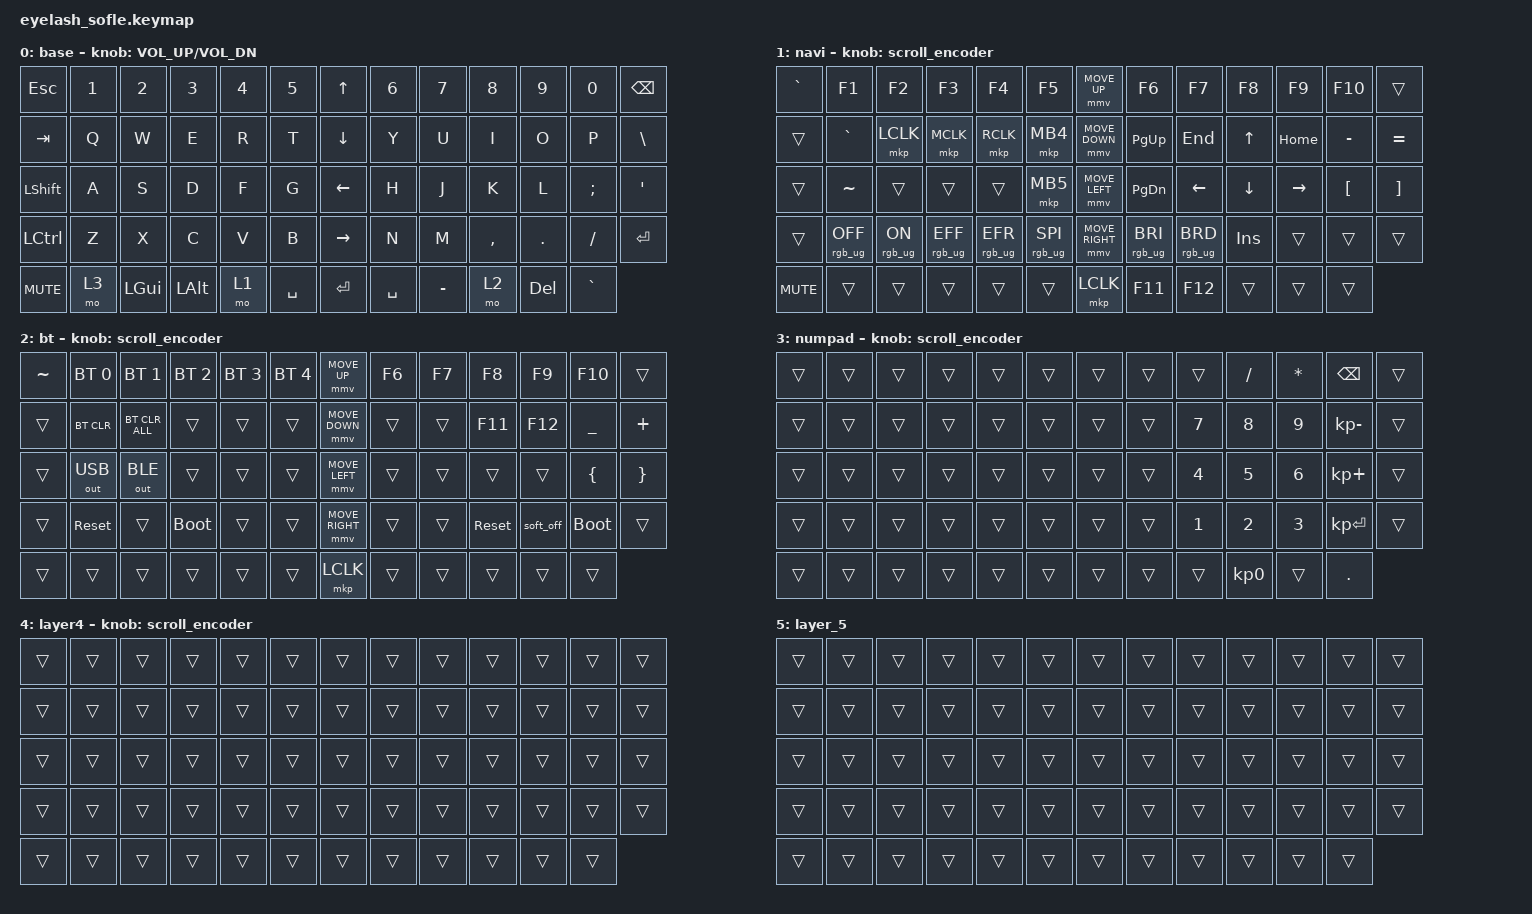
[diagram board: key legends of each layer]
#define ZMK_POINTING_DEFAULT_MOVE_VAL 1200  // 600
#define ZMK_POINTING_DEFAULT_SCRL_VAL 25   // 10

#include <input/processors.dtsi>
#include <zephyr/dt-bindings/input/input-event-codes.h>
#include <behaviors.dtsi>
#include <dt-bindings/zmk/bt.h>
#include <dt-bindings/zmk/keys.h>
#include <dt-bindings/zmk/outputs.h>
#include <dt-bindings/zmk/pointing.h>
#include <dt-bindings/zmk/rgb.h>

&mmv_input_listener { input-processors = <&zip_xy_scaler 2 1>; };

&msc_input_listener { input-processors = <&zip_scroll_scaler 2 1>; };

&msc {
    acceleration-exponent = <1>;      // 0
    time-to-max-speed-ms = <100>;       // 300
    delay-ms = <0>;                   // 0
};

&mmv {
    time-to-max-speed-ms = <500>;
    acceleration-exponent = <1>;
    trigger-period-ms = <16>;
};

&soft_off { hold-time-ms = <2000>; };

/ {
    scroll_encoder: scroll_encoder {
        compatible = "zmk,behavior-sensor-rotate";
        #sensor-binding-cells = <0>;
        bindings = <&msc SCRL_DOWN>, <&msc SCRL_UP>;

        tap-ms = <100>;
    };

    behaviors {
    };

    combos {
        compatible = "zmk,combos";

        softoff {
            bindings = <&soft_off>;
            key-positions = <14 28 40>;
        };
    };

    macros {
        SHIFT_MCLK: SHIFT_MCLK {
            compatible = "zmk,behavior-macro";
            #binding-cells = <0>;
            bindings =
                <&macro_press>,
                <&kp LEFT_SHIFT>,
                <&macro_press>,
                <&mkp MB3>,
                <&macro_pause_for_release>,
                <&macro_release>,
                <&kp LEFT_SHIFT &mkp MB3>;

            label = "SHIFT_MCLK";
        };
    };

    keymap {
        compatible = "zmk,keymap";

        base {
            bindings = <
&kp ESC         &kp N1  &kp N2        &kp N3        &kp N4  &kp N5       &kp UP_ARROW     &kp N6     &kp N7     &kp N8     &kp N9   &kp N0     &kp BACKSPACE
&kp TAB         &kp Q   &kp W         &kp E         &kp R   &kp T        &kp DOWN_ARROW   &kp Y      &kp U      &kp I      &kp O    &kp P      &kp BSLH
&kp LEFT_SHIFT  &kp A   &kp S         &kp D         &kp F   &kp G        &kp LEFT_ARROW   &kp H      &kp J      &kp K      &kp L    &kp SEMI   &kp APOS
&kp LCTRL       &kp Z   &kp X         &kp C         &kp V   &kp B        &kp RIGHT_ARROW  &kp N      &kp M      &kp COMMA  &kp DOT  &kp FSLH   &kp ENTER
&kp C_MUTE      &mo 3   &kp LEFT_GUI  &kp LEFT_ALT  &mo 1   &kp SPACE    &kp ENTER        &kp SPACE  &kp MINUS  &mo 2      &kp DEL  &kp GRAVE
            >;

            sensor-bindings = <&inc_dec_kp C_VOLUME_UP C_VOL_DN>;
            display-name = "base";
        };

        navi {
            bindings = <
&kp GRAVE   &kp F1           &kp F2          &kp F3           &kp F4           &kp F5             &mmv MOVE_UP     &kp F6           &kp F7           &kp F8      &kp F9     &kp F10           &trans
&trans      &kp GRAVE        &mkp LCLK       &mkp MCLK        &mkp RCLK        &mkp MB4           &mmv MOVE_DOWN   &kp PG_UP        &kp END          &kp UP      &kp HOME   &kp MINUS         &kp EQUAL
&trans      &kp TILDE        &trans          &trans           &trans           &mkp MB5           &mmv MOVE_LEFT   &kp PG_DN        &kp LEFT         &kp DOWN    &kp RIGHT  &kp LEFT_BRACKET  &kp RIGHT_BRACKET
&trans      &rgb_ug RGB_OFF  &rgb_ug RGB_ON  &rgb_ug RGB_EFF  &rgb_ug RGB_EFR  &rgb_ug RGB_SPI    &mmv MOVE_RIGHT  &rgb_ug RGB_BRI  &rgb_ug RGB_BRD  &kp INSERT  &trans     &trans            &trans
&kp C_MUTE  &trans           &trans          &trans           &trans           &trans             &mkp LCLK        &kp F11          &kp F12          &trans      &trans     &trans
            >;

            display-name = "navi";
            sensor-bindings = <&scroll_encoder>;
        };

        bt {
            bindings = <
&kp TILDE  &bt BT_SEL 0  &bt BT_SEL 1    &bt BT_SEL 2  &bt BT_SEL 3  &bt BT_SEL 4    &mmv MOVE_UP     &kp F6  &kp F7  &kp F8      &kp F9     &kp F10      &trans
&trans     &bt BT_CLR    &bt BT_CLR_ALL  &trans        &trans        &trans          &mmv MOVE_DOWN   &trans  &trans  &kp F11     &kp F12    &kp UNDER    &kp PLUS
&trans     &out OUT_USB  &out OUT_BLE    &trans        &trans        &trans          &mmv MOVE_LEFT   &trans  &trans  &trans      &trans     &kp LBRC     &kp RBRC
&trans     &sys_reset    &trans          &bootloader   &trans        &trans          &mmv MOVE_RIGHT  &trans  &trans  &sys_reset  &soft_off  &bootloader  &trans
&trans     &trans        &trans          &trans        &trans        &trans          &mkp LCLK        &trans  &trans  &trans      &trans     &trans
            >;

            display-name = "bt";
            sensor-bindings = <&scroll_encoder>;
        };

        numpad {
            bindings = <
&trans  &trans  &trans  &trans  &trans  &trans    &trans  &trans  &trans        &kp SLASH        &kp ASTERISK  &kp BACKSPACE    &trans
&trans  &trans  &trans  &trans  &trans  &trans    &trans  &trans  &kp NUMBER_7  &kp NUMBER_8     &kp NUMBER_9  &kp KP_SUBTRACT  &trans
&trans  &trans  &trans  &trans  &trans  &trans    &trans  &trans  &kp NUMBER_4  &kp N5           &kp NUMBER_6  &kp KP_PLUS      &trans
&trans  &trans  &trans  &trans  &trans  &trans    &trans  &trans  &kp NUMBER_1  &kp NUMBER_2     &kp NUMBER_3  &kp KP_ENTER     &trans
&trans  &trans  &trans  &trans  &trans  &trans    &trans  &trans  &trans        &kp KP_NUMBER_0  &trans        &kp PERIOD
            >;

            display-name = "numpad";
            sensor-bindings = <&scroll_encoder>;
        };

        layer_4 {
            bindings = <
&trans  &trans  &trans  &trans  &trans  &trans    &trans  &trans  &trans  &trans  &trans  &trans  &trans
&trans  &trans  &trans  &trans  &trans  &trans    &trans  &trans  &trans  &trans  &trans  &trans  &trans
&trans  &trans  &trans  &trans  &trans  &trans    &trans  &trans  &trans  &trans  &trans  &trans  &trans
&trans  &trans  &trans  &trans  &trans  &trans    &trans  &trans  &trans  &trans  &trans  &trans  &trans
&trans  &trans  &trans  &trans  &trans  &trans    &trans  &trans  &trans  &trans  &trans  &trans
            >;

            display-name = "layer4";
            sensor-bindings = <&scroll_encoder>;
        };

        layer_5 {
            bindings = <
&trans  &trans  &trans  &trans  &trans  &trans    &trans  &trans  &trans  &trans  &trans  &trans  &trans
&trans  &trans  &trans  &trans  &trans  &trans    &trans  &trans  &trans  &trans  &trans  &trans  &trans
&trans  &trans  &trans  &trans  &trans  &trans    &trans  &trans  &trans  &trans  &trans  &trans  &trans
&trans  &trans  &trans  &trans  &trans  &trans    &trans  &trans  &trans  &trans  &trans  &trans  &trans
&trans  &trans  &trans  &trans  &trans  &trans    &trans  &trans  &trans  &trans  &trans  &trans
            >;
        };
    };
};
